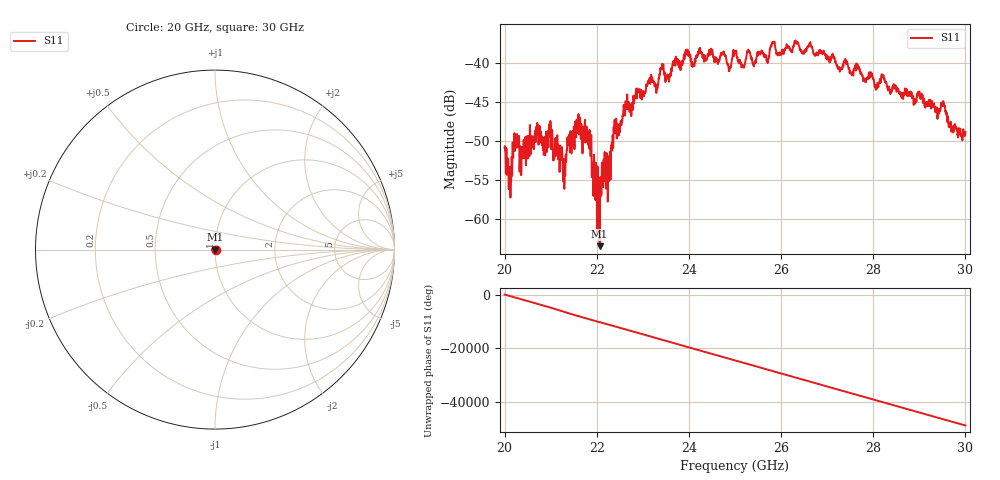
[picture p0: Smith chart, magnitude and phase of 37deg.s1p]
#  HZ  S  RI  R  50.00
! Rohde & Schwarz ZVA40 4Ports - Version 3.90 - 1145.1110k42 SN: 100403
! Date: 2023-10-03 12:52:29
! Measurement: S12
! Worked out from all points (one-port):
!   5001 points, 20 GHz to 30 GHz, reference 50 ohm
!   lowest |S11| = -63.4 dB at 22.06 GHz (marker M1), VSWR 1.00, Z = 49.9 + j0.00909 ohm
!   |S11| at or under -10 dB: start of sweep to end of sweep
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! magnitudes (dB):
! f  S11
! 20 GHz  -50.9
! 20.12 GHz  -53.3
! 20.22 GHz  -51.3
! 20.37 GHz  -51.2
! 20.74 GHz  -50.5
! 20.84 GHz  -50.5
! 21 GHz  -47.7
! 21.25 GHz  -51.5
! 21.61 GHz  -49.2
! 21.83 GHz  -50.5
! 22.06 GHz  -63.4
! 22.14 GHz  -53.6
! 22.28 GHz  -51.6
! 22.38 GHz  -48.4
! 22.5 GHz  -48.0
! 22.89 GHz  -43.6
! 23.75 GHz  -39.5
! 24.47 GHz  -38.5
! 24.87 GHz  -41.0
! 25 GHz  -38.7
! 25.17 GHz  -40.4
! 25.82 GHz  -37.4
! 26.25 GHz  -38.3
! 27.5 GHz  -41.0
! 28.75 GHz  -43.7
! 29.52 GHz  -44.9
! 29.68 GHz  -47.5
! 30 GHz  -48.8
